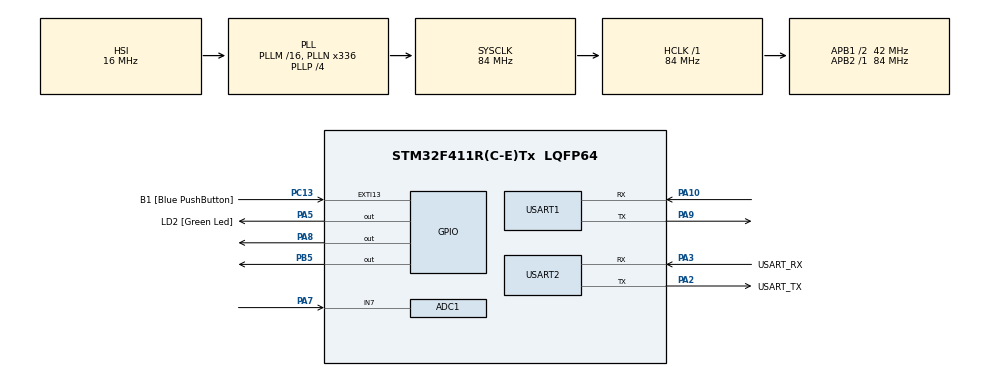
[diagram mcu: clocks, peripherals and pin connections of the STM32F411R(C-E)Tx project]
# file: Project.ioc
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ADC1.Channel-0\#ChannelRegularConversion=ADC_CHANNEL_7
ADC1.NbrOfConversionFlag=1
ADC1.Rank-0\#ChannelRegularConversion=1
ADC1.SamplingTime-0\#ChannelRegularConversion=ADC_SAMPLETIME_3CYCLES
ADC1.master=1
Mcu.Family=STM32F4
Mcu.Name=STM32F411R(C-E)Tx
Mcu.Package=LQFP64
NVIC.PriorityGroup=NVIC_PRIORITYGROUP_0
NVIC.USART1_IRQn=true\:0\:0\:false\:false\:true\:true\:true
PA10.Mode=Asynchronous
PA10.Signal=USART1_RX
PA13.GPIO_Label=TMS
PA13.Mode=Serial_Wire
PA13.Signal=SYS_JTMS-SWDIO
PA14.GPIO_Label=TCK
PA14.Mode=Serial_Wire
PA14.Signal=SYS_JTCK-SWCLK
PA2.GPIO_Label=USART_TX
PA2.Mode=Asynchronous
PA2.Signal=USART2_TX
PA3.GPIO_Label=USART_RX
PA3.Mode=Asynchronous
PA3.Signal=USART2_RX
PA5.GPIO_Label=LD2 [Green Led]
PA5.Signal=GPIO_Output
PA7.Signal=ADCx_IN7
PA8.Signal=GPIO_Output
PA9.Mode=Asynchronous
PA9.Signal=USART1_TX
PB3.GPIO_Label=SWO
PB3.Signal=SYS_JTDO-SWO
PB5.Signal=GPIO_Output
PC13-ANTI_TAMP.GPIO_Label=B1 [Blue PushButton]
PC13-ANTI_TAMP.GPIO_ModeDefaultEXTI=GPIO_MODE_IT_FALLING
PC13-ANTI_TAMP.Signal=GPXTI13
PC14-OSC32_IN.Mode=LSE-External-Oscillator
PC14-OSC32_IN.Signal=RCC_OSC32_IN
PC15-OSC32_OUT.Mode=LSE-External-Oscillator
PC15-OSC32_OUT.Signal=RCC_OSC32_OUT
PH0\ -\ OSC_IN.Mode=HSE-External-Clock-Source
PH0\ -\ OSC_IN.Signal=RCC_OSC_IN
PH1\ -\ OSC_OUT.Mode=HSE-External-Clock-Source
PH1\ -\ OSC_OUT.Signal=RCC_OSC_OUT
ProjectManager.HeapSize=0x200
ProjectManager.StackSize=0x400
ProjectManager.TargetToolchain=STM32CubeIDE
RCC.48MHZClocksFreq_Value=84000000
RCC.AHBFreq_Value=84000000
RCC.APB1CLKDivider=RCC_HCLK_DIV2
RCC.APB1Freq_Value=42000000
RCC.APB1TimFreq_Value=84000000
RCC.APB2Freq_Value=84000000
RCC.APB2TimFreq_Value=84000000
RCC.CortexFreq_Value=84000000
RCC.FLatency-AdvancedSettings=FLASH_LATENCY_2
RCC.HCLKFreq_Value=84000000
RCC.HSE_VALUE=8000000
RCC.HSI_VALUE=16000000
RCC.PLLN=336
RCC.PLLP=RCC_PLLP_DIV4
RCC.SYSCLKFreq_VALUE=84000000
RCC.SYSCLKSource=RCC_SYSCLKSOURCE_PLLCLK
RCC.VCOOutputFreq_Value=336000000
SH.ADCx_IN7.0=ADC1_IN7,IN7
USART1.VirtualMode=VM_ASYNC
USART2.VirtualMode=VM_ASYNC
board=NUCLEO-F411RE

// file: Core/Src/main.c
/* USER CODE BEGIN Header */
/**
 ******************************************************************************
 * @file           : main.c
 * @brief          : Main program body
 ******************************************************************************
 * @attention
 *
 * <h2><center>&copy; Copyright (c) 2021 STMicroelectronics.
 * All rights reserved.</center></h2>
 *
 * This software component is licensed by ST under BSD 3-Clause license,
 * the "License"; You may not use this file except in compliance with the
 * License. You may obtain a copy of the License at:
 *                        opensource.org/licenses/BSD-3-Clause
 *
 ******************************************************************************
 */
/* USER CODE END Header */
#include "main.h"

ADC_HandleTypeDef hadc1;

UART_HandleTypeDef huart1;
UART_HandleTypeDef huart2;

void SystemClock_Config(void);
static void MX_GPIO_Init(void);
static void MX_USART2_UART_Init(void);
static void MX_ADC1_Init(void);
static void MX_USART1_UART_Init(void);

int main(void)
{

  /* MCU Configuration--------------------------------------------------------*/

  /* Reset of all peripherals, Initializes the Flash interface and the Systick. */
  HAL_Init();

  /* Configure the system clock */
  SystemClock_Config();

  /* Initialize all configured peripherals */
  MX_GPIO_Init();
  MX_USART2_UART_Init();
  MX_ADC1_Init();
  MX_USART1_UART_Init();
  /* USER CODE BEGIN 2 */

	HAL_ADCEx_InjectedStart(&hadc1);

	HAL_ADC_Start(&hadc1);
	HAL_ADC_PollForConversion(&hadc1, 1);

	int peopleCount = 0;
	int peopleMax = 10;
	int out;
	uint8_t in ;
	int AD_RES;
	char va[20];
	int mode = 0;
	int isPush = 0;
	int isFull = 0;
	HAL_GPIO_WritePin(GPIOA, GPIO_PIN_8, GPIO_PIN_RESET);
	HAL_GPIO_WritePin(GPIOB, GPIO_PIN_5, GPIO_PIN_SET);
  /* USER CODE END 2 */

  /* Infinite loop */
	while (1) {

    /* USER CODE BEGIN 3 */
		HAL_ADC_Start(&hadc1);
		HAL_ADC_PollForConversion(&hadc1, 1);

		//get value from sensor and assign out (out == 0 means laser didnt shine through sensor)
		AD_RES = HAL_ADC_GetValue(&hadc1);
		if (AD_RES > 3000) out = 0;
		else out = 1;

		if (HAL_GPIO_ReadPin(GPIOC, GPIO_PIN_13) == GPIO_PIN_RESET && isPush==0) {
			//peopleCount = 0;
			//isFull = 0;
			mode = (mode+1)%2;
			isPush = 1;
			sprintf(va, "\n\rmode = %d ", mode);
			HAL_UART_Transmit(&huart2, va, strlen(va), 100);
		}
		else if (HAL_GPIO_ReadPin(GPIOC, GPIO_PIN_13) == GPIO_PIN_SET && isPush==1){
			isPush = 0;
		}

		sprintf(va, "\n\rvalue = %d ", out);
		HAL_UART_Transmit(&huart2, va, strlen(va), 100);

		if (isFull == 1) {
			HAL_GPIO_WritePin(GPIOA, GPIO_PIN_8, GPIO_PIN_SET);
			HAL_GPIO_WritePin(GPIOB, GPIO_PIN_5, GPIO_PIN_RESET);
		}

		if ((isFull == 1) && (mode == 1) && (out ==1)) isFull = 0;

		else if (isFull == 0 && out == 1) {
			if (mode == 1) out = 11;
			HAL_UART_Transmit(&huart1, &out, 1, HAL_MAX_DELAY);
			//while (HAL_UART_Receive(&huart1, &in, 1, HAL_MAX_DELAY) != HAL_OK);
			//if (in == 1) {
				//led red or green
				//PA8 d7 in1 PB5 d4 in2
				//peopleCount++;
				HAL_GPIO_TogglePin(GPIOA, GPIO_PIN_5);
				HAL_GPIO_WritePin(GPIOA, GPIO_PIN_8, GPIO_PIN_SET);
				HAL_GPIO_WritePin(GPIOB, GPIO_PIN_5, GPIO_PIN_RESET);
				HAL_Delay(3000);
				if (peopleCount != peopleMax) {
					HAL_GPIO_WritePin(GPIOA, GPIO_PIN_8, GPIO_PIN_RESET);
					HAL_GPIO_WritePin(GPIOB, GPIO_PIN_5, GPIO_PIN_SET);
				}
			//}
		}
		//if (/*in != 1 ||*/ isFull == 1) HAL_Delay(500);
		HAL_Delay(300);
		//9= -247 , 8 =-248, 1=-255 , 0 = -256
		if (HAL_UART_Receive(&huart1, &in, 1, 100) == HAL_OK) {
			sprintf(va, "\n\rRecieved = %d ", in);
			HAL_UART_Transmit(&huart2, va, strlen(va), 200);
			if (isFull==0 && in == 9) isFull =1;
			/*else if (isFull==1 && in==8) {
				isFull = 0;
			}*/
		}

	}
  /* USER CODE END 3 */
}

void SystemClock_Config(void)
{
  RCC_OscInitTypeDef RCC_OscInitStruct = {0};
  RCC_ClkInitTypeDef RCC_ClkInitStruct = {0};

  /** Configure the main internal regulator output voltage
  */
  __HAL_RCC_PWR_CLK_ENABLE();
  __HAL_PWR_VOLTAGESCALING_CONFIG(PWR_REGULATOR_VOLTAGE_SCALE1);
  /** Initializes the RCC Oscillators according to the specified parameters
  * in the RCC_OscInitTypeDef structure.
  */
  RCC_OscInitStruct.OscillatorType = RCC_OSCILLATORTYPE_HSI;
  RCC_OscInitStruct.HSIState = RCC_HSI_ON;
  RCC_OscInitStruct.HSICalibrationValue = RCC_HSICALIBRATION_DEFAULT;
  RCC_OscInitStruct.PLL.PLLState = RCC_PLL_ON;
  RCC_OscInitStruct.PLL.PLLSource = RCC_PLLSOURCE_HSI;
  RCC_OscInitStruct.PLL.PLLM = 16;
  RCC_OscInitStruct.PLL.PLLN = 336;
  RCC_OscInitStruct.PLL.PLLP = RCC_PLLP_DIV4;
  RCC_OscInitStruct.PLL.PLLQ = 4;
  if (HAL_RCC_OscConfig(&RCC_OscInitStruct) != HAL_OK)
  {
    Error_Handler();
  }
  /** Initializes the CPU, AHB and APB buses clocks
  */
  RCC_ClkInitStruct.ClockType = RCC_CLOCKTYPE_HCLK|RCC_CLOCKTYPE_SYSCLK
                              |RCC_CLOCKTYPE_PCLK1|RCC_CLOCKTYPE_PCLK2;
  RCC_ClkInitStruct.SYSCLKSource = RCC_SYSCLKSOURCE_PLLCLK;
  RCC_ClkInitStruct.AHBCLKDivider = RCC_SYSCLK_DIV1;
  RCC_ClkInitStruct.APB1CLKDivider = RCC_HCLK_DIV2;
  RCC_ClkInitStruct.APB2CLKDivider = RCC_HCLK_DIV1;

  if (HAL_RCC_ClockConfig(&RCC_ClkInitStruct, FLASH_LATENCY_2) != HAL_OK)
  {
    Error_Handler();
  }
}

static void MX_ADC1_Init(void)
{

  ADC_ChannelConfTypeDef sConfig = {0};

  /** Configure the global features of the ADC (Clock, Resolution, Data Alignment and number of conversion)
  */
  hadc1.Instance = ADC1;
  hadc1.Init.ClockPrescaler = ADC_CLOCK_SYNC_PCLK_DIV4;
  hadc1.Init.Resolution = ADC_RESOLUTION_12B;
  hadc1.Init.ScanConvMode = DISABLE;
  hadc1.Init.ContinuousConvMode = DISABLE;
  hadc1.Init.DiscontinuousConvMode = DISABLE;
  hadc1.Init.ExternalTrigConvEdge = ADC_EXTERNALTRIGCONVEDGE_NONE;
  hadc1.Init.ExternalTrigConv = ADC_SOFTWARE_START;
  hadc1.Init.DataAlign = ADC_DATAALIGN_RIGHT;
  hadc1.Init.NbrOfConversion = 1;
  hadc1.Init.DMAContinuousRequests = DISABLE;
  hadc1.Init.EOCSelection = ADC_EOC_SINGLE_CONV;
  if (HAL_ADC_Init(&hadc1) != HAL_OK)
  {
    Error_Handler();
  }
  /** Configure for the selected ADC regular channel its corresponding rank in the sequencer and its sample time.
  */
  sConfig.Channel = ADC_CHANNEL_7;
  sConfig.Rank = 1;
  sConfig.SamplingTime = ADC_SAMPLETIME_3CYCLES;
  if (HAL_ADC_ConfigChannel(&hadc1, &sConfig) != HAL_OK)
  {
    Error_Handler();
  }

}

static void MX_USART1_UART_Init(void)
{

  huart1.Instance = USART1;
  huart1.Init.BaudRate = 115200;
  huart1.Init.WordLength = UART_WORDLENGTH_8B;
  huart1.Init.StopBits = UART_STOPBITS_1;
  huart1.Init.Parity = UART_PARITY_NONE;
  huart1.Init.Mode = UART_MODE_TX_RX;
  huart1.Init.HwFlowCtl = UART_HWCONTROL_NONE;
  huart1.Init.OverSampling = UART_OVERSAMPLING_16;
  if (HAL_UART_Init(&huart1) != HAL_OK)
  {
    Error_Handler();
  }

}

static void MX_USART2_UART_Init(void)
{

  huart2.Instance = USART2;
  huart2.Init.BaudRate = 115200;
  huart2.Init.WordLength = UART_WORDLENGTH_8B;
  huart2.Init.StopBits = UART_STOPBITS_1;
  huart2.Init.Parity = UART_PARITY_NONE;
  huart2.Init.Mode = UART_MODE_TX_RX;
  huart2.Init.HwFlowCtl = UART_HWCONTROL_NONE;
  huart2.Init.OverSampling = UART_OVERSAMPLING_16;
  if (HAL_UART_Init(&huart2) != HAL_OK)
  {
    Error_Handler();
  }

}

static void MX_GPIO_Init(void)
{
  GPIO_InitTypeDef GPIO_InitStruct = {0};

  /* GPIO Ports Clock Enable */
  __HAL_RCC_GPIOC_CLK_ENABLE();
  __HAL_RCC_GPIOH_CLK_ENABLE();
  __HAL_RCC_GPIOA_CLK_ENABLE();
  __HAL_RCC_GPIOB_CLK_ENABLE();

  /*Configure GPIO pin Output Level */
  HAL_GPIO_WritePin(GPIOA, LD2_Pin|GPIO_PIN_8, GPIO_PIN_RESET);

  /*Configure GPIO pin Output Level */
  HAL_GPIO_WritePin(GPIOB, GPIO_PIN_5, GPIO_PIN_RESET);

  /*Configure GPIO pin : B1_Pin */
  GPIO_InitStruct.Pin = B1_Pin;
  GPIO_InitStruct.Mode = GPIO_MODE_IT_FALLING;
  GPIO_InitStruct.Pull = GPIO_NOPULL;
  HAL_GPIO_Init(B1_GPIO_Port, &GPIO_InitStruct);

  /*Configure GPIO pins : LD2_Pin PA8 */
  GPIO_InitStruct.Pin = LD2_Pin|GPIO_PIN_8;
  GPIO_InitStruct.Mode = GPIO_MODE_OUTPUT_PP;
  GPIO_InitStruct.Pull = GPIO_NOPULL;
  GPIO_InitStruct.Speed = GPIO_SPEED_FREQ_LOW;
  HAL_GPIO_Init(GPIOA, &GPIO_InitStruct);

  /*Configure GPIO pin : PB5 */
  GPIO_InitStruct.Pin = GPIO_PIN_5;
  GPIO_InitStruct.Mode = GPIO_MODE_OUTPUT_PP;
  GPIO_InitStruct.Pull = GPIO_NOPULL;
  GPIO_InitStruct.Speed = GPIO_SPEED_FREQ_LOW;
  HAL_GPIO_Init(GPIOB, &GPIO_InitStruct);

}

void Error_Handler(void)
{
	__disable_irq();
	while (1) {
	}
}

/************************ (C) COPYRIGHT STMicroelectronics *****END OF FILE****/
